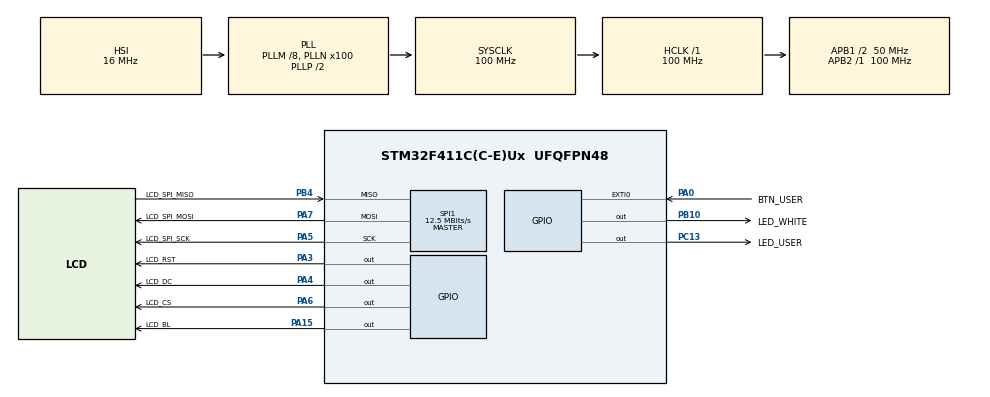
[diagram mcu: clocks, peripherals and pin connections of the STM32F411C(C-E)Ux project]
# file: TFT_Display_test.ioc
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Mcu.Family=STM32F4
Mcu.Name=STM32F411C(C-E)Ux
Mcu.Package=UFQFPN48
NVIC.EXTI0_IRQn=true\:0\:0\:false\:false\:true\:true\:true\:true
NVIC.PriorityGroup=NVIC_PRIORITYGROUP_4
NVIC.TIM1_UP_TIM10_IRQn=true\:15\:0\:false\:false\:true\:false\:true\:true
NVIC.TimeBase=TIM1_UP_TIM10_IRQn
NVIC.TimeBaseIP=TIM1
PA0-WKUP.GPIO_Label=BTN_USER
PA0-WKUP.Signal=GPXTI0
PA13.Mode=Trace_Asynchronous_SW
PA13.Signal=SYS_JTMS-SWDIO
PA14.Mode=Trace_Asynchronous_SW
PA14.Signal=SYS_JTCK-SWCLK
PA15.GPIO_Label=LCD_BL
PA15.GPIO_PuPd=GPIO_PULLDOWN
PA15.Signal=GPIO_Output
PA3.GPIO_Label=LCD_RST
PA3.Signal=GPIO_Output
PA4.GPIO_Label=LCD_DC
PA4.Signal=GPIO_Output
PA5.GPIO_Label=LCD_SPI_SCK
PA5.GPIO_PuPd=GPIO_PULLUP
PA5.Mode=Full_Duplex_Master
PA5.Signal=SPI1_SCK
PA6.GPIO_Label=LCD_CS
PA6.GPIO_PuPd=GPIO_PULLUP
PA6.Signal=GPIO_Output
PA7.GPIO_Label=LCD_SPI_MOSI
PA7.GPIO_PuPd=GPIO_PULLUP
PA7.Mode=Full_Duplex_Master
PA7.Signal=SPI1_MOSI
PB10.GPIO_Label=LED_WHITE
PB10.Signal=GPIO_Output
PB3.Mode=Trace_Asynchronous_SW
PB3.Signal=SYS_JTDO-SWO
PB4.GPIO_Label=LCD_SPI_MISO
PB4.GPIO_PuPd=GPIO_PULLUP
PB4.Mode=Full_Duplex_Master
PB4.Signal=SPI1_MISO
PC13-ANTI_TAMP.GPIO_Label=LED_USER
PC13-ANTI_TAMP.Signal=GPIO_Output
ProjectManager.HeapSize=0x200
ProjectManager.StackSize=0x2000
ProjectManager.TargetToolchain=STM32CubeIDE
RCC.48MHZClocksFreq_Value=50000000
RCC.AHBFreq_Value=100000000
RCC.APB1CLKDivider=RCC_HCLK_DIV2
RCC.APB1Freq_Value=50000000
RCC.APB1TimFreq_Value=100000000
RCC.APB2Freq_Value=100000000
RCC.APB2TimFreq_Value=100000000
RCC.CortexFreq_Value=100000000
RCC.HCLKFreq_Value=100000000
RCC.HSE_VALUE=25000000
RCC.HSI_VALUE=16000000
RCC.LSE_VALUE=32768
RCC.PLLM=8
RCC.PLLN=100
RCC.SYSCLKFreq_VALUE=100000000
RCC.SYSCLKSource=RCC_SYSCLKSOURCE_PLLCLK
RCC.VCOOutputFreq_Value=200000000
SPI1.BaudRatePrescaler=SPI_BAUDRATEPRESCALER_8
SPI1.CLKPhase=SPI_PHASE_1EDGE
SPI1.CLKPolarity=SPI_POLARITY_LOW
SPI1.CalculateBaudRate=12.5 MBits/s
SPI1.DataSize=SPI_DATASIZE_8BIT
SPI1.Direction=SPI_DIRECTION_2LINES
SPI1.FirstBit=SPI_FIRSTBIT_MSB
SPI1.Mode=SPI_MODE_MASTER
SPI1.VirtualType=VM_MASTER
VP_SYS_VS_tim1.Mode=TIM1
board=custom

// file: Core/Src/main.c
/* USER CODE BEGIN Header */
/**
  ******************************************************************************
  * @file           : main.c
  * @brief          : Main program body
  ******************************************************************************
  * @attention
  *
  * Copyright (c) 2024 STMicroelectronics.
  * All rights reserved.
  *
  * This software is licensed under terms that can be found in the LICENSE file
  * in the root directory of this software component.
  * If no LICENSE file comes with this software, it is provided AS-IS.
  *
  ******************************************************************************
  */
/* USER CODE END Header */
#include "main.h"
#include "spi.h"
#include "gpio.h"

/* USER CODE BEGIN Includes */
#include "ST7789.h"
#include "Fonts.h"
#include "dicaprio.c"
#include "main_scru.c"

/* USER CODE END Includes */

void SystemClock_Config(void);

int main(void)
{

  /* MCU Configuration--------------------------------------------------------*/

  /* Reset of all peripherals, Initializes the Flash interface and the Systick. */
  HAL_Init();

  /* Configure the system clock */
  SystemClock_Config();

  /* Initialize all configured peripherals */
  MX_GPIO_Init();
  MX_SPI1_Init();
  /* USER CODE BEGIN 2 */

  ST7789_init();

  ST7789_fill_box(0, 0, DISPLAY_W, 30, RED);
  ST7789_fill_box(0, 30, DISPLAY_W, 30, GREEN);
  ST7789_fill_box(0, 60, DISPLAY_W, 30, BLUE);
  ST7789_fill_box(0, 90, DISPLAY_W, 30, YELLOW);
  ST7789_fill_box(0, 120, DISPLAY_W, 30, MAGENTA);
  ST7789_fill_box(0, 150, DISPLAY_W, 30, WHITE);
  ST7789_fill_box(0, 180, DISPLAY_W, 30, LGRAYBLUE);
  ST7789_fill_box(0, 210, DISPLAY_W, 30, BLACK);

  HAL_Delay(2000);

  ST7789_draw_image_fast(0, 0, DISPLAY_W, DISPLAY_H, (uint16_t* )dicaprio);

  ST7789_write_string(70, 200, "Cheers mate!", Font_16x26, WHITE, BLACK);

  /* USER CODE END 2 */

  /* Infinite loop */
  while (1)
  {
	  ST7789_write_string(70, 200, "Cheers mate!", Font_16x26, WHITE, BLACK);
	  HAL_Delay(2000);
	  ST7789_write_string(70, 200, "Wazzuuuupp!", Font_16x26, WHITE, BLACK);
	  HAL_Delay(2000);
  }
}

void SystemClock_Config(void)
{
  RCC_OscInitTypeDef RCC_OscInitStruct = {0};
  RCC_ClkInitTypeDef RCC_ClkInitStruct = {0};

  /** Configure the main internal regulator output voltage
  */
  __HAL_RCC_PWR_CLK_ENABLE();
  __HAL_PWR_VOLTAGESCALING_CONFIG(PWR_REGULATOR_VOLTAGE_SCALE1);

  /** Initializes the RCC Oscillators according to the specified parameters
  * in the RCC_OscInitTypeDef structure.
  */
  RCC_OscInitStruct.OscillatorType = RCC_OSCILLATORTYPE_HSI;
  RCC_OscInitStruct.HSIState = RCC_HSI_ON;
  RCC_OscInitStruct.HSICalibrationValue = RCC_HSICALIBRATION_DEFAULT;
  RCC_OscInitStruct.PLL.PLLState = RCC_PLL_ON;
  RCC_OscInitStruct.PLL.PLLSource = RCC_PLLSOURCE_HSI;
  RCC_OscInitStruct.PLL.PLLM = 8;
  RCC_OscInitStruct.PLL.PLLN = 100;
  RCC_OscInitStruct.PLL.PLLP = RCC_PLLP_DIV2;
  RCC_OscInitStruct.PLL.PLLQ = 4;
  if (HAL_RCC_OscConfig(&RCC_OscInitStruct) != HAL_OK)
  {
    Error_Handler();
  }

  /** Initializes the CPU, AHB and APB buses clocks
  */
  RCC_ClkInitStruct.ClockType = RCC_CLOCKTYPE_HCLK|RCC_CLOCKTYPE_SYSCLK
                              |RCC_CLOCKTYPE_PCLK1|RCC_CLOCKTYPE_PCLK2;
  RCC_ClkInitStruct.SYSCLKSource = RCC_SYSCLKSOURCE_PLLCLK;
  RCC_ClkInitStruct.AHBCLKDivider = RCC_SYSCLK_DIV1;
  RCC_ClkInitStruct.APB1CLKDivider = RCC_HCLK_DIV2;
  RCC_ClkInitStruct.APB2CLKDivider = RCC_HCLK_DIV1;

  if (HAL_RCC_ClockConfig(&RCC_ClkInitStruct, FLASH_LATENCY_3) != HAL_OK)
  {
    Error_Handler();
  }
}

void HAL_TIM_PeriodElapsedCallback(TIM_HandleTypeDef *htim)
{
  if (htim->Instance == TIM1) {
    HAL_IncTick();
  }
}

void Error_Handler(void)
{
  __disable_irq();
  while (1)
  {
  }
}
